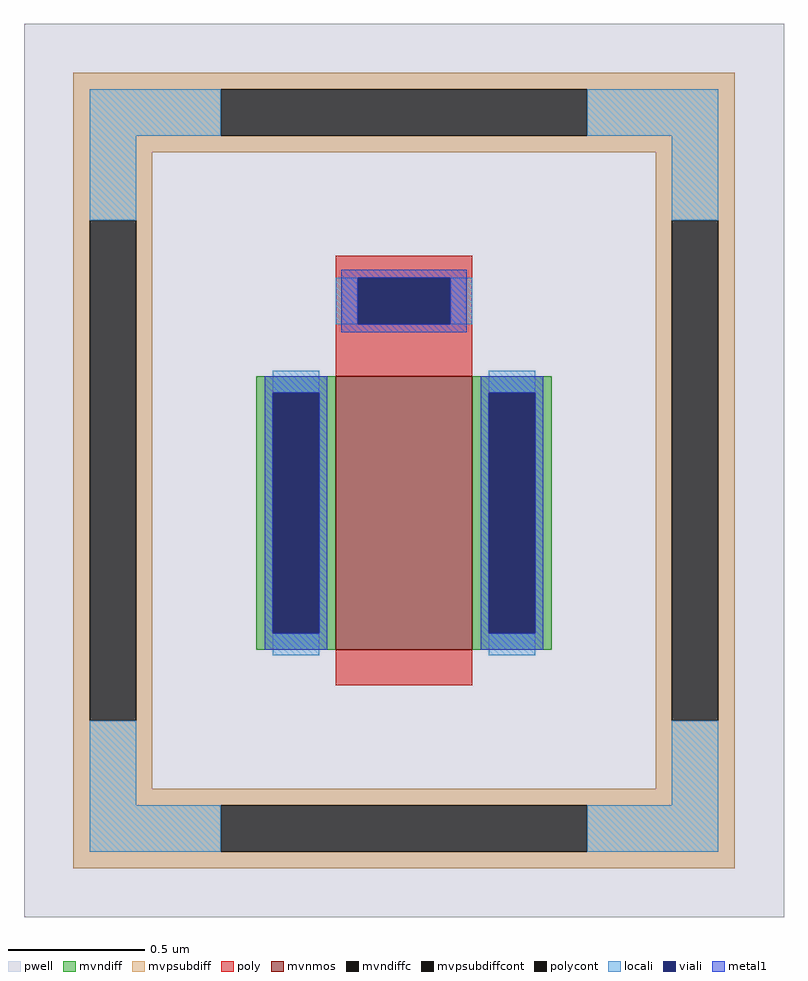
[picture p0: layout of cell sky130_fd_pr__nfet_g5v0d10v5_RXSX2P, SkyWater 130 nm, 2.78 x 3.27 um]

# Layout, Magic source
magic
tech sky130A
magscale 1 2
<< pwell >>
rect -278 -327 278 327
<< mvnmos >>
rect -50 -131 50 69
<< mvndiff >>
rect -108 57 -50 69
rect -108 -119 -96 57
rect -62 -119 -50 57
rect -108 -131 -50 -119
rect 50 57 108 69
rect 50 -119 62 57
rect 96 -119 108 57
rect 50 -131 108 -119
<< mvndiffc >>
rect -96 -119 -62 57
rect 62 -119 96 57
<< mvpsubdiff >>
rect -242 279 242 291
rect -242 245 -134 279
rect 134 245 242 279
rect -242 233 242 245
rect -242 183 -184 233
rect -242 -183 -230 183
rect -196 -183 -184 183
rect 184 183 242 233
rect -242 -233 -184 -183
rect 184 -183 196 183
rect 230 -183 242 183
rect 184 -233 242 -183
rect -242 -245 242 -233
rect -242 -279 -134 -245
rect 134 -279 242 -245
rect -242 -291 242 -279
<< mvpsubdiffcont >>
rect -134 245 134 279
rect -230 -183 -196 183
rect 196 -183 230 183
rect -134 -279 134 -245
<< poly >>
rect -50 141 50 157
rect -50 107 -34 141
rect 34 107 50 141
rect -50 69 50 107
rect -50 -157 50 -131
<< polycont >>
rect -34 107 34 141
<< locali >>
rect -230 245 -134 279
rect 134 245 230 279
rect -230 183 -196 245
rect 196 183 230 245
rect -50 107 -34 141
rect 34 107 50 141
rect -96 57 -62 73
rect -96 -135 -62 -119
rect 62 57 96 73
rect 62 -135 96 -119
rect -230 -245 -196 -183
rect 196 -245 230 -183
rect -230 -279 -134 -245
rect 134 -279 230 -245
<< viali >>
rect -34 107 34 141
rect -96 -119 -62 57
rect 62 -119 96 57
<< metal1 >>
rect -46 141 46 147
rect -46 107 -34 141
rect 34 107 46 141
rect -46 101 46 107
rect -102 57 -56 69
rect -102 -119 -96 57
rect -62 -119 -56 57
rect -102 -131 -56 -119
rect 56 57 102 69
rect 56 -119 62 57
rect 96 -119 102 57
rect 56 -131 102 -119
<< properties >>
string FIXED_BBOX -213 -262 213 262
string gencell sky130_fd_pr__nfet_g5v0d10v5
string library sky130
string parameters w 1 l 0.50 m 1 nf 1 diffcov 100 polycov 100 guard 1 glc 1 grc 1 gtc 1 gbc 1 tbcov 100 rlcov 100 topc 1 botc 0 poverlap 0 doverlap 1 lmin 0.50 wmin 0.42 compatible {sky130_fd_pr__nfet_01v8 sky130_fd_pr__nfet_01v8_lvt  sky130_fd_bs_flash__special_sonosfet_star  sky130_fd_pr__nfet_g5v0d10v5 sky130_fd_pr__nfet_05v0_nvt  sky130_fd_pr__nfet_03v3_nvt} full_metal 1 viasrc 100 viadrn 100 viagate 100 viagb 0 viagr 0 viagl 0 viagt 0
<< end >>
